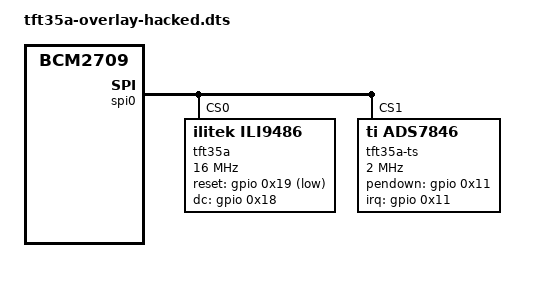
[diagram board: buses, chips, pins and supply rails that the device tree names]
/dts-v1/;
/plugin/;

/ {
	compatible = "brcm,bcm2835\0brcm,bcm2708\0brcm,bcm2709";

	fragment@0 {
		target = <&spi0>;

		__overlay__ {
			status = "okay";
		};
	};
	
	fragment@1 {
		target = <&spidev0>;
		__overlay__ {
			status = "disabled";
		};
	};

	fragment@2 {
		target = <&spidev1>;
		__overlay__ {
			status = "disabled";
		};
	};

	fragment@3 {
		// This is a wild guess at target
		// but seems to match https://github.com/analogdevicesinc/linux/blob/rpi-5.10.y/arch/arm/boot/dts/overlays/adis16475-overlay.dts
		target = <&gpio>;

		__overlay__ {

			tft35a_pins: tft35a_pins {
				brcm,pins = <0x11 0x19 0x18>;
				brcm,function = <0x00 0x00 0x00>;
			};
		};
	};

	fragment@4 {
		target = <&spi0>;

		__overlay__ {
			#address-cells = <0x01>;
			#size-cells = <0x00>;

			tft35a@0 {
				compatible = "ilitek,ili9486";
				reg = <0x00>;
				pinctrl-names = "default";
				pinctrl-0 = <&tft35a_pins>;
				spi-max-frequency = <0xf42400>;
				txbuflen = <0x8000>;
				rotate = <0x5a>;
				bgr = <0x00>;
				fps = <0x1e>;
				buswidth = <0x08>;
				regwidth = <0x10>;
				reset-gpios = <&gpio 0x19 0x01>;
				dc-gpios = <&gpio 0x18 0x00>;
				debug = <0x00>;
				init = <0x10000f1 0x36 0x04 0x00 0x3c 0x0f 0x8f 0x10000f2 0x18 0xa3 0x12 0x02 0xb2 0x12 0xff 0x10 0x00 0x10000f8 0x21 0x04 0x10000f9 0x00 0x08 0x1000036 0x08 0x10000b4 0x00 0x10000c1 0x41 0x10000c5 0x00 0x91 0x80 0x00 0x10000e0 0x0f 0x1f 0x1c 0x0c 0x0f 0x08 0x48 0x98 0x37 0x0a 0x13 0x04 0x11 0x0d 0x00 0x10000e1 0x0f 0x32 0x2e 0x0b 0x0d 0x05 0x47 0x75 0x37 0x06 0x10 0x03 0x24 0x20 0x00 0x100003a 0x55 0x1000011 0x1000036 0x28 0x20000ff 0x1000029>;
			};

			tft35a-ts@1 {
				compatible = "ti,ads7846";
				reg = <0x01>;
				spi-max-frequency = <0x1e8480>;
				interrupts = <0x11 0x02>;
				// wild guess
				interrupt-parent = <&gpio>;
				pendown-gpio = <&gpio 0x11 0x00>;
				ti,x-plate-ohms = [00 3c];
				ti,pressure-max = [00 ff];
			};
		};
	};
};
